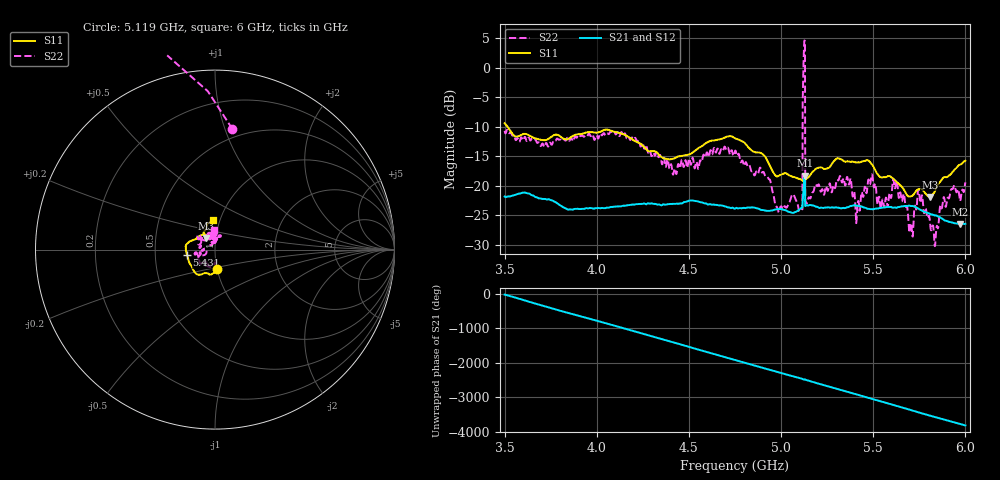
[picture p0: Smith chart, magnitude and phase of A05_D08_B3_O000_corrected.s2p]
! Created with skrf 1.9.0 (http://scikit-rf.org).
# Hz S RI R 50.0
!freq ReS11 ImS11 ReS21 ImS21 ReS12 ImS12 ReS22 ImS22
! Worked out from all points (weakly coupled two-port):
!   1601 points, 3.5 GHz to 6 GHz, reference 50 ohm
!   highest |S21| = -18.29 dB at 5.128 GHz (marker M1); lowest = -26.5 dB at 5.972 GHz (marker M2)
!   lowest |S11| = -21.9 dB at 5.806 GHz (marker M3), VSWR 1.17, Z = 45.1 + j5.87 ohm
!   |S11| at or under -10 dB: 3.516 GHz to end of sweep
!   |S22| runs from -30.2 to 4.6 dB; largest |S21 - S12| = 0.0013
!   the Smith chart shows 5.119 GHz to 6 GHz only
!   S11 on the Smith chart (normalised r, x): 5.119 GHz: 0.99, -0.22; 5.431 GHz: 0.73, -0.04; 6 GHz: 0.93, +0.31
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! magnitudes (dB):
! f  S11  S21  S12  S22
! 3.5 GHz  -9.4  -21.8  -21.8  -10.7
! 3.917 GHz  -11.2  -23.9  -23.9  -11.5
! 4.334 GHz  -14.6  -23.2  -23.1  -15.2
! 4.75 GHz  -12.0  -23.9  -23.8  -14.1
! 4.931 GHz  -16.1  -24.3  -24.2  -18.8
! 4.981 GHz  -18.4  -24.0  -24.0  -24.0
! 5.103 GHz  -18.9  -23.9  -23.9  -24.2
! 5.119 GHz  -19.2  -22.0  -22.0  -3.4
! 5.128 GHz  -19.0  -18.3  -18.3  4.5
! 5.144 GHz  -18.7  -23.3  -23.3  -22.5
! 5.167 GHz  -17.8  -23.3  -23.3  -21.3
! 5.328 GHz  -15.5  -23.8  -23.8  -19.3
! 5.431 GHz  -16.0  -23.5  -23.5  -22.7
! 5.486 GHz  -16.1  -24.0  -24.0  -19.3
! 5.584 GHz  -18.4  -23.6  -23.6  -22.1
! 5.62 GHz  -19.1  -23.7  -23.7  -20.3
! 5.705 GHz  -21.8  -23.4  -23.4  -26.3
! 5.753 GHz  -20.5  -24.0  -24.0  -22.4
! 5.806 GHz  -21.9  -24.7  -24.7  -25.6
! 5.841 GHz  -20.5  -25.0  -25.0  -27.8
! 5.972 GHz  -16.4  -26.5  -26.5  -22.6
! 6 GHz  -15.8  -26.4  -26.4  -19.4
